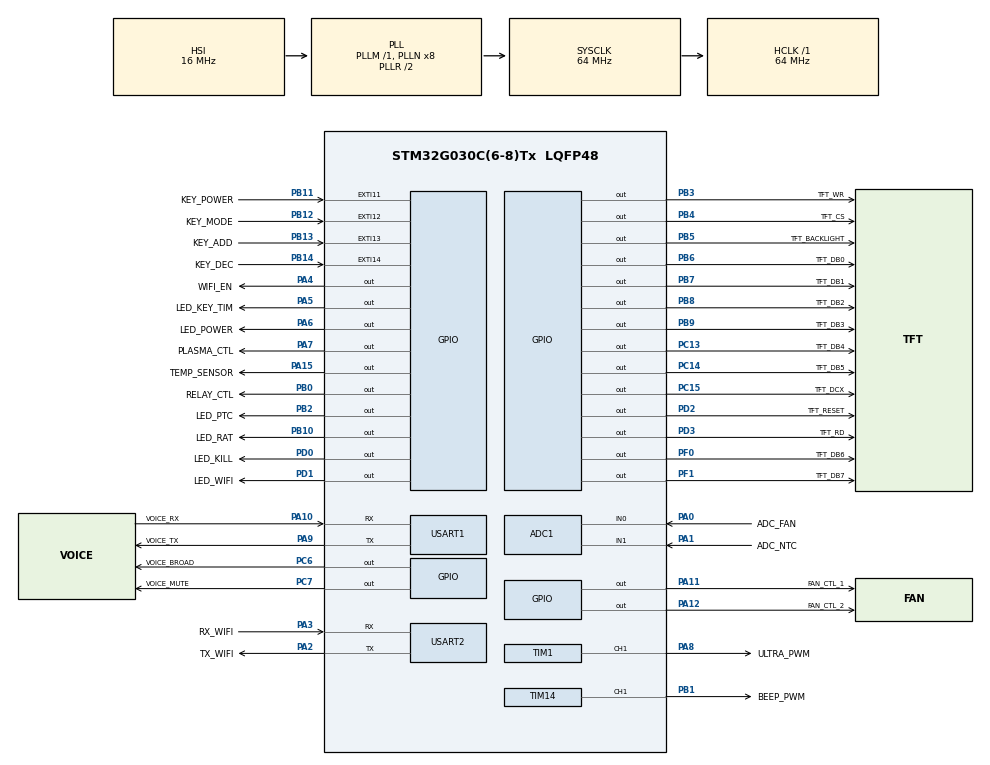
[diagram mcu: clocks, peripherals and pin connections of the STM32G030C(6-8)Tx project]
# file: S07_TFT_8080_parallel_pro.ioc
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ADC1.Channel-0\#ChannelRegularConversion=ADC_CHANNEL_0
ADC1.NbrOfConversionFlag=1
ADC1.Rank-0\#ChannelRegularConversion=1
ADC1.SamplingTime-0\#ChannelRegularConversion=ADC_SAMPLINGTIME_COMMON_1
ADC1.SelectedChannel=ADC_CHANNEL_0|ADC_CHANNEL_1
ADC1.master=1
FREERTOS.Tasks01=defaultTask,0,128,StartDefaultTask,Default,NULL,Dynamic,NULL,NULL
IWDG.Prescaler=IWDG_PRESCALER_8
Mcu.Family=STM32G0
Mcu.Name=STM32G030C(6-8)Tx
Mcu.Package=LQFP48
NVIC.EXTI4_15_IRQn=true\:3\:0\:false\:false\:true\:true\:true\:true\:true
NVIC.TIM17_IRQn=true\:3\:0\:false\:false\:true\:true\:true\:true\:true
NVIC.USART1_IRQn=true\:3\:0\:false\:false\:true\:true\:true\:true\:true
NVIC.USART2_IRQn=true\:3\:0\:false\:false\:true\:true\:true\:true\:true
PA0.GPIO_Label=ADC_FAN
PA0.Mode=IN0
PA0.Signal=ADC1_IN0
PA1.GPIO_Label=ADC_NTC
PA1.Mode=IN1
PA1.Signal=ADC1_IN1
PA10.GPIO_Label=VOICE_RX
PA10.Mode=Asynchronous
PA10.Signal=USART1_RX
PA11\ [PA9].GPIO_Label=FAN_CTL_1
PA11\ [PA9].Signal=GPIO_Output
PA12\ [PA10].GPIO_Label=FAN_CTL_2
PA12\ [PA10].Signal=GPIO_Output
PA13.Mode=Serial_Wire
PA13.Signal=SYS_SWDIO
PA14-BOOT0.Mode=Serial_Wire
PA14-BOOT0.Signal=SYS_SWCLK
PA15.GPIO_Label=TEMP_SENSOR
PA15.GPIO_Speed=GPIO_SPEED_FREQ_MEDIUM
PA15.Signal=GPIO_Output
PA2.GPIO_Label=TX_WIFI
PA2.Mode=Asynchronous
PA2.Signal=USART2_TX
PA3.GPIO_Label=RX_WIFI
PA3.Mode=Asynchronous
PA3.Signal=USART2_RX
PA4.GPIO_Label=WIFI_EN
PA4.Signal=GPIO_Output
PA5.GPIO_Label=LED_KEY_TIM
PA5.Signal=GPIO_Output
PA6.GPIO_Label=LED_POWER
PA6.Signal=GPIO_Output
PA7.GPIO_Label=PLASMA_CTL
PA7.Signal=GPIO_Output
PA8.GPIO_Label=ULTRA_PWM
PA8.Signal=S_TIM1_CH1
PA9.GPIO_Label=VOICE_TX
PA9.Mode=Asynchronous
PA9.Signal=USART1_TX
PB0.GPIO_Label=RELAY_CTL
PB0.Signal=GPIO_Output
PB1.GPIO_Label=BEEP_PWM
PB1.GPIO_Speed=GPIO_SPEED_FREQ_MEDIUM
PB1.Signal=S_TIM14_CH1
PB10.GPIO_Label=LED_RAT
PB10.Signal=GPIO_Output
PB11.GPIO_Label=KEY_POWER
PB11.GPIO_ModeDefaultEXTI=GPIO_MODE_IT_FALLING
PB11.Signal=GPXTI11
PB12.GPIO_Label=KEY_MODE
PB12.GPIO_ModeDefaultEXTI=GPIO_MODE_IT_FALLING
PB12.Signal=GPXTI12
PB13.GPIO_Label=KEY_ADD
PB13.GPIO_ModeDefaultEXTI=GPIO_MODE_IT_FALLING
PB13.Signal=GPXTI13
PB14.GPIO_Label=KEY_DEC
PB14.GPIO_ModeDefaultEXTI=GPIO_MODE_IT_FALLING
PB14.Signal=GPXTI14
PB2.GPIO_Label=LED_PTC
PB2.Signal=GPIO_Output
PB3.GPIO_Label=TFT_WR
PB3.GPIO_Speed=GPIO_SPEED_FREQ_HIGH
PB3.Signal=GPIO_Output
PB4.GPIO_Label=TFT_CS
PB4.GPIO_Speed=GPIO_SPEED_FREQ_HIGH
PB4.Signal=GPIO_Output
PB5.GPIO_Label=TFT_BACKLIGHT
PB5.Signal=GPIO_Output
PB6.GPIO_FM6=SYSCFG_FASTMODEPLUS_PB6
PB6.GPIO_Label=TFT_DB0
PB6.Signal=GPIO_Output
PB7.GPIO_FM7=SYSCFG_FASTMODEPLUS_PB7
PB7.GPIO_Label=TFT_DB1
PB7.Signal=GPIO_Output
PB8.GPIO_FM8=SYSCFG_FASTMODEPLUS_PB8
PB8.GPIO_Label=TFT_DB2
PB8.Signal=GPIO_Output
PB9.GPIO_FM9=SYSCFG_FASTMODEPLUS_PB9
PB9.GPIO_Label=TFT_DB3
PB9.Signal=GPIO_Output
PC13.GPIO_Label=TFT_DB4
PC13.Signal=GPIO_Output
PC14-OSC32_IN\ (PC14).GPIO_Label=TFT_DB5
PC14-OSC32_IN\ (PC14).Signal=GPIO_Output
PC15-OSC32_OUT\ (PC15).GPIO_Label=TFT_DCX
PC15-OSC32_OUT\ (PC15).Signal=GPIO_Output
PC6.GPIO_Label=VOICE_BROAD
PC6.Signal=GPIO_Output
PC7.GPIO_Label=VOICE_MUTE
PC7.Signal=GPIO_Output
PD0.GPIO_Label=LED_KILL
PD0.Signal=GPIO_Output
PD1.GPIO_Label=LED_WIFI
PD1.Signal=GPIO_Output
PD2.GPIO_Label=TFT_RESET
PD2.Signal=GPIO_Output
PD3.GPIO_Label=TFT_RD
PD3.Signal=GPIO_Output
PF0-OSC_IN\ (PF0).GPIO_Label=TFT_DB6
PF0-OSC_IN\ (PF0).GPIO_Speed=GPIO_SPEED_FREQ_MEDIUM
PF0-OSC_IN\ (PF0).Signal=GPIO_Output
PF1-OSC_OUT\ (PF1).GPIO_Label=TFT_DB7
PF1-OSC_OUT\ (PF1).GPIO_Speed=GPIO_SPEED_FREQ_MEDIUM
PF1-OSC_OUT\ (PF1).Signal=GPIO_Output
ProjectManager.HeapSize=0x200
ProjectManager.StackSize=0x400
ProjectManager.TargetToolchain=MDK-ARM V5.32
RCC.ADCFreq_Value=64000000
RCC.AHBFreq_Value=64000000
RCC.CortexFreq_Value=64000000
RCC.EXTERNAL_CLOCK_VALUE=12288000
RCC.HCLKFreq_Value=64000000
RCC.HSE_VALUE=8000000
RCC.HSI_VALUE=16000000
RCC.LSE_VALUE=32768
RCC.SYSCLKFreq_VALUE=64000000
RCC.SYSCLKSource=RCC_SYSCLKSOURCE_PLLCLK
RCC.VCOOutputFreq_Value=128000000
SH.S_TIM14_CH1.0=TIM14_CH1,PWM Generation1 CH1
SH.S_TIM1_CH1.0=TIM1_CH1,PWM Generation1 CH1
TIM1.Channel-PWM\ Generation1\ CH1=TIM_CHANNEL_1
TIM14.Channel=TIM_CHANNEL_1
USART1.VirtualMode-Asynchronous=VM_ASYNC
USART2.VirtualMode-Asynchronous=VM_ASYNC
VP_FREERTOS_VS_CMSIS_V1.Mode=CMSIS_V1
VP_IWDG_VS_IWDG.Mode=IWDG_Activate
VP_TIM14_VS_ClockSourceINT.Mode=Enable_Timer
VP_TIM17_VS_ClockSourceINT.Mode=Enable_Timer
VP_TIM1_VS_ClockSourceINT.Mode=Internal
board=custom

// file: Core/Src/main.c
/* USER CODE BEGIN Header */
/**
  ******************************************************************************
  * @file           : main.c
  * @brief          : Main program body
  ******************************************************************************
  * @attention
  *
  * Copyright (c) 2024 STMicroelectronics.
  * All rights reserved.
  *
  * This software is licensed under terms that can be found in the LICENSE file
  * in the root directory of this software component.
  * If no LICENSE file comes with this software, it is provided AS-IS.
  *
  ******************************************************************************
  */
/* USER CODE END Header */
#include "main.h"
#include "cmsis_os.h"
#include "adc.h"
#include "iwdg.h"
#include "tim.h"
#include "usart.h"
#include "gpio.h"

/* USER CODE BEGIN Includes */
#include "bsp.h"
/* USER CODE END Includes */

/* USER CODE BEGIN PTD */
uint8_t keyvalue;
/* USER CODE END PTD */

void SystemClock_Config(void);
void MX_FREERTOS_Init(void);

int main(void)
{

  /* MCU Configuration--------------------------------------------------------*/

  /* Reset of all peripherals, Initializes the Flash interface and the Systick. */
  HAL_Init();

  /* Configure the system clock */
  SystemClock_Config();

  /* Initialize all configured peripherals */
  MX_GPIO_Init();
  MX_ADC1_Init();
  MX_IWDG_Init();
  MX_TIM1_Init();
  MX_TIM17_Init();
  MX_USART1_UART_Init();
  MX_USART2_UART_Init();
  MX_TIM14_Init();
  /* USER CODE BEGIN 2 */
  delay_init(64);
  bsp_ctl_init();
  Wifi_Init();
  HAL_TIM_Base_Start_IT(&htim17);

  TFT_BACKLIGHT_OFF();

  TFT_LCD_Init();

  HAL_UART_Receive_IT(&huart2,wifi_t.usart2_dataBuf,1);

  HAL_UART_Receive_IT(&huart1,voice_inputBuf,1);//HAL_UART_Receive_IT(&huart1,voice_inputBuf,8);
  pro_t.buzzer_sound_flag=1;
  /* USER CODE END 2 */

  /* Call init function for freertos objects (in freertos.c) */
  MX_FREERTOS_Init();

  /* Start scheduler */
  osKernelStart();

  /* We should never get here as control is now taken by the scheduler */
  /* Infinite loop */
  while (1)
  {

    /* USER CODE BEGIN 3 */

#if 0
	bsp_Idle();

    Key_Speical_Power_Fun_Handler();
    if(pro_t.gPower_On ==power_on){
		Wifi_Fast_Led_Blink();

        Key_Speical_Mode_Fun_Handler();
		Key_Interrup_Handler();

	}
   	Voice_Decoder_Handler();
	TFT_Process_Handler();
    WIFI_Process_Handler();
	USART_Cmd_Error_Handler();
    #endif
  }
  /* USER CODE END 3 */
}

void SystemClock_Config(void)
{
  RCC_OscInitTypeDef RCC_OscInitStruct = {0};
  RCC_ClkInitTypeDef RCC_ClkInitStruct = {0};

  /** Configure the main internal regulator output voltage
  */
  HAL_PWREx_ControlVoltageScaling(PWR_REGULATOR_VOLTAGE_SCALE1);

  /** Initializes the RCC Oscillators according to the specified parameters
  * in the RCC_OscInitTypeDef structure.
  */
  RCC_OscInitStruct.OscillatorType = RCC_OSCILLATORTYPE_HSI|RCC_OSCILLATORTYPE_LSI;
  RCC_OscInitStruct.HSIState = RCC_HSI_ON;
  RCC_OscInitStruct.HSIDiv = RCC_HSI_DIV1;
  RCC_OscInitStruct.HSICalibrationValue = RCC_HSICALIBRATION_DEFAULT;
  RCC_OscInitStruct.LSIState = RCC_LSI_ON;
  RCC_OscInitStruct.PLL.PLLState = RCC_PLL_ON;
  RCC_OscInitStruct.PLL.PLLSource = RCC_PLLSOURCE_HSI;
  RCC_OscInitStruct.PLL.PLLM = RCC_PLLM_DIV1;
  RCC_OscInitStruct.PLL.PLLN = 8;
  RCC_OscInitStruct.PLL.PLLP = RCC_PLLP_DIV2;
  RCC_OscInitStruct.PLL.PLLR = RCC_PLLR_DIV2;
  if (HAL_RCC_OscConfig(&RCC_OscInitStruct) != HAL_OK)
  {
    Error_Handler();
  }

  /** Initializes the CPU, AHB and APB buses clocks
  */
  RCC_ClkInitStruct.ClockType = RCC_CLOCKTYPE_HCLK|RCC_CLOCKTYPE_SYSCLK
                              |RCC_CLOCKTYPE_PCLK1;
  RCC_ClkInitStruct.SYSCLKSource = RCC_SYSCLKSOURCE_PLLCLK;
  RCC_ClkInitStruct.AHBCLKDivider = RCC_SYSCLK_DIV1;
  RCC_ClkInitStruct.APB1CLKDivider = RCC_HCLK_DIV1;

  if (HAL_RCC_ClockConfig(&RCC_ClkInitStruct, FLASH_LATENCY_2) != HAL_OK)
  {
    Error_Handler();
  }
}

void Error_Handler(void)
{
  /* USER CODE BEGIN Error_Handler_Debug */
  /* User can add his own implementation to report the HAL error return state */
  __disable_irq();
  while (1)
  {
  	pro_t.spi_error_flag = 0xff;
  }
  /* USER CODE END Error_Handler_Debug */
}
